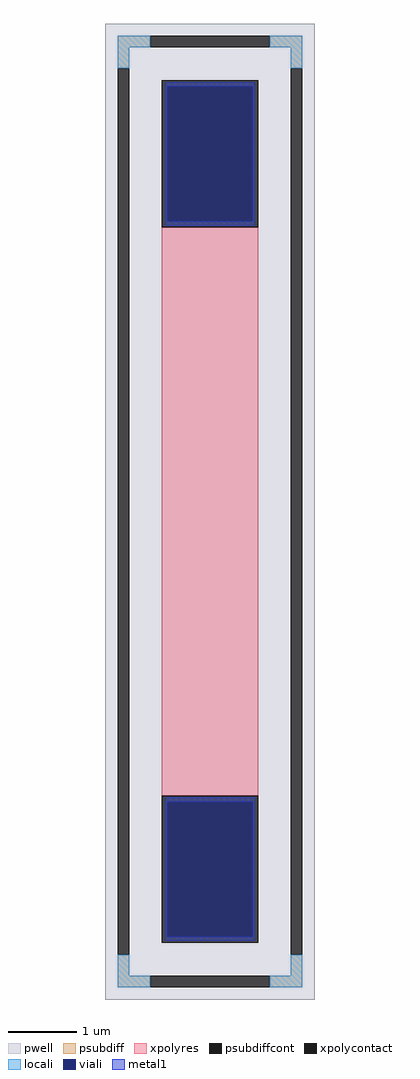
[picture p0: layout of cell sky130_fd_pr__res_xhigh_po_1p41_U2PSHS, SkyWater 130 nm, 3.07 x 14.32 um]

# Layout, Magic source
magic
tech sky130A
magscale 1 2
<< pwell >>
rect -307 -1432 307 1432
<< psubdiff >>
rect -271 1362 -175 1396
rect 175 1362 271 1396
rect -271 1300 -237 1362
rect 237 1300 271 1362
rect -271 -1362 -237 -1300
rect 237 -1362 271 -1300
rect -271 -1396 -175 -1362
rect 175 -1396 271 -1362
<< psubdiffcont >>
rect -175 1362 175 1396
rect -271 -1300 -237 1300
rect 237 -1300 271 1300
rect -175 -1396 175 -1362
<< xpolycontact >>
rect -141 834 141 1266
rect -141 -1266 141 -834
<< xpolyres >>
rect -141 -834 141 834
<< locali >>
rect -271 1362 -175 1396
rect 175 1362 271 1396
rect -271 1300 -237 1362
rect 237 1300 271 1362
rect -271 -1362 -237 -1300
rect 237 -1362 271 -1300
rect -271 -1396 -175 -1362
rect 175 -1396 271 -1362
<< viali >>
rect -125 851 125 1248
rect -125 -1248 125 -851
<< metal1 >>
rect -131 1248 131 1260
rect -131 851 -125 1248
rect 125 851 131 1248
rect -131 839 131 851
rect -131 -851 131 -839
rect -131 -1248 -125 -851
rect 125 -1248 131 -851
rect -131 -1260 131 -1248
<< properties >>
string FIXED_BBOX -254 -1379 254 1379
string gencell sky130_fd_pr__res_xhigh_po_1p41
string library sky130
string parameters w 1.410 l 8.498 m 1 nx 1 wmin 1.410 lmin 0.50 rho 2000 val 12.32k dummy 0 dw 0.0 term 188.2 sterm 0.0 caplen 0 wmax 1.410 guard 1 glc 1 grc 1 gtc 1 gbc 1 compatible {sky130_fd_pr__res_xhigh_po_0p35  sky130_fd_pr__res_xhigh_po_0p69 sky130_fd_pr__res_xhigh_po_1p41  sky130_fd_pr__res_xhigh_po_2p85 sky130_fd_pr__res_xhigh_po_5p73} snake 0 full_metal 1 n_guard 0 hv_guard 0 vias 1 viagb 0 viagt 0 viagl 0 viagr 0
<< end >>
